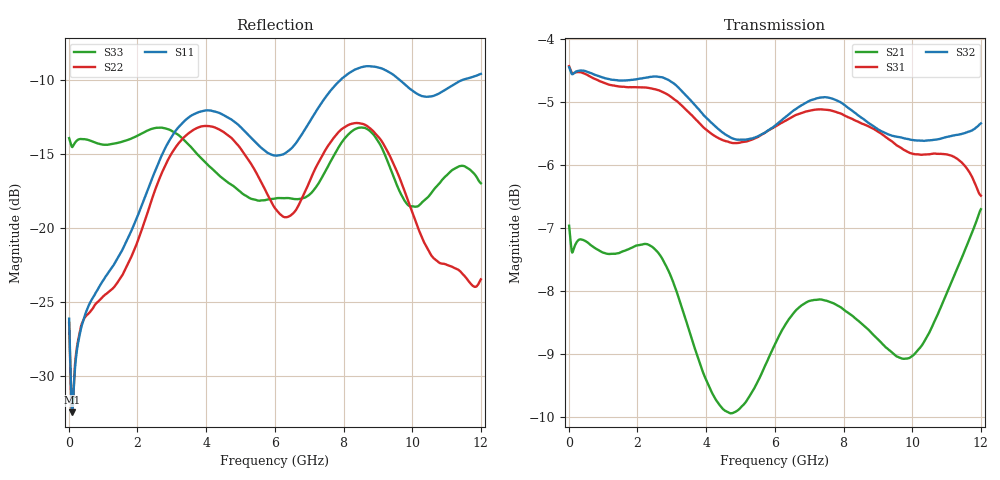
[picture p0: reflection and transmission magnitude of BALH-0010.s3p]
! MARKI MICROWAVE INC.
! Email:  info@markimicrowave.com  Phone:  408-778-4200
! Model Number:  BALH-0010  Date:  06/15
! Filename:		BALH-0010.S3P  Version: 1.0
! Description:  3-port S-parameter data for Balun BALH-0010
! Frequency Range: 	10 MHz to 12 GHz
! Port Configuration:	PORT 1: OUTPUT (0 DEGREE), PORT 2: OUTPUT (180 DEGREE), PORT 3: COMMON
! S3P File: Measurements: Mag<S11> Ang<S11> Mag<S12> Ang<S12> Mag<S13> Ang<S13>! row 1
!  Mag<S21> Ang<S21> Mag<S22> Ang<S22> Mag<S23> Ang<S23>! row 2
!  Mag<S31> Ang<S31> Mag<S32> Ang<S32> Mag<S33> Ang<S33>! row 3
# Hz S  dB  R 50
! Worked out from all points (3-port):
!   801 points, 10 MHz to 12 GHz, reference 50 ohm
!   strongest paths, dB at 10 MHz, 3.007 GHz, 6.005 GHz, 9.002 GHz, 12 GHz:
!     S32: -4.4, -4.7, -5.4, -5.4, -5.3
!     S31: -4.4, -4.9, -5.4, -5.5, -6.5
!     S21: -7.0, -7.8, -8.8, -8.8, -6.7
!   lowest |S11| = -32.5 dB at 99.92 MHz (marker M1), VSWR 1.05, Z = 52.4 + j0.0125 ohm
!   |S11| at or under -10 dB: start of sweep to 7.901 GHz; 9.646 GHz to 11.44 GHz (1.797 GHz wide, 17 % of centre)
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1e7  -26.12 16.7  -6.94 0.3  -4.42 -2.6
     -6.96 0.3  -26.40 15.2  -4.43 177.1
     -4.43 -1.4  -4.45 178.5  -13.92 -0.3
9.9925e7  -32.46 0.3  -7.39 -5.5  -4.55 -9.9
          -7.39 -5.5  -32.52 6.2  -4.56 170.2
          -4.54 -10.1  -4.56 170.1  -14.52 -13.1
1.733562e9  -20.63 -175.0  -7.34 -102.5  -4.77 -171.3
            -7.34 -102.5  -22.36 -169.0  -4.65 8.6
            -4.76 -171.3  -4.65 8.6  -14.02 99.4
3.577025e9  -12.38 54.5  -8.75 143.6  -5.21 6.1
            -8.76 143.6  -13.44 49.5  -5.00 -175.4
            -5.21 6.1  -4.99 -175.4  -14.56 170.5
4.671112e9  -12.57 -22.6  -9.94 90.0  -5.64 -98.4
            -9.94 89.9  -13.78 -34.9  -5.56 79.3
            -5.64 -98.4  -5.55 79.4  -16.97 -1.0
6.005e9  -15.09 -82.4  -8.84 22.5  -5.39 133.9
         -8.85 22.5  -18.65 -102.1  -5.38 -47.3
         -5.39 133.8  -5.38 -47.3  -18.00 -160.2
7.3239e9  -11.66 -127.3  -8.13 -57.0  -5.12 2.9
          -8.14 -57.1  -15.33 -133.1  -4.94 -177.9
          -5.11 3.0  -4.93 -177.9  -16.77 -5.3
9.077438e9  -9.17 127.8  -8.80 -158.8  -5.50 -171.8
            -8.81 -158.8  -14.01 104.1  -5.46 8.6
            -5.49 -171.8  -5.46 8.7  -14.40 90.7
1.021649e10  -11.01 69.9  -8.90 142.8  -5.84 76.8
             -8.91 142.8  -20.26 37.8  -5.62 -100.7
             -5.83 76.8  -5.61 -100.6  -18.43 -110.4
1.2e10  -9.57 -20.5  -6.70 42.5  -6.50 -102.3
        -6.70 42.5  -23.46 -25.3  -5.35 89.3
        -6.49 -102.3  -5.34 89.3  -16.97 24.9
